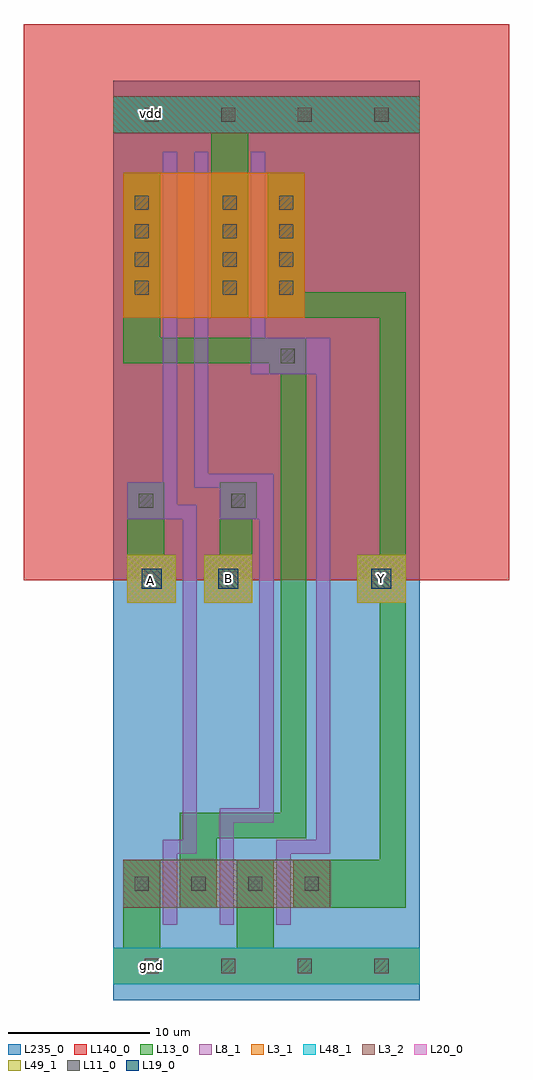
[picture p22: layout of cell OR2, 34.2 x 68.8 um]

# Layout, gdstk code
import gdstk
lib = gdstk.Library(unit=1e-6, precision=1e-09)
def R(c, l, rs):  # rectangles x0, y0, x1, y1
    for r in rs: c.add(gdstk.rectangle(r[:2], r[2:], *l))
def A(c, l, x, y, w, h, nx, ny, dx, dy):  # array of equal rectangles
    R(c, l, [(x+i*dx, y+j*dy, x+i*dx+w, y+j*dy+h) for i in range(nx) for j in range(ny)])
def P(c, l, *ps):  # polygons
    for p in ps: c.add(gdstk.Polygon(p, *l))
L3_1 = (3, 1)
L3_2 = (3, 2)
L8_1 = (8, 1)
L11_0 = (11, 0)
L13_0 = (13, 0)
L19_0 = (19, 0)
L20_0 = (20, 0)
L48_1 = (48, 1)
L49_1 = (49, 1)
L140_0 = (140, 0)
L235_0 = (235, 0)

or2 = lib.new_cell('OR2')
R(or2, L3_1, [(0,1.1,21.6,3.7), (0.7,48.1,13.5,58.3)])
R(or2, L3_2, [(0.7,6.5,15.3,9.9), (0,61.1,21.6,63.7)])
P(or2, L8_1, [(7.5,5.3),(7.5,13.5),(10.3,13.5),(10.3,33.9),(7.5,33.9),(7.5,36.1),(5.7,36.1),(5.7,59.8),(6.7,59.8),(6.7,37.1),(11.3,37.1),(11.3,12.5),(8.5,12.5),(8.5,5.3)],
  [(3.5,5.3),(3.5,11.3),(4.9,11.3),(4.9,33.9),(1,33.9),(1,36.5),(3.5,36.5),(3.5,59.8),(4.5,59.8),(4.5,34.9),(5.9,34.9),(5.9,10.3),(4.5,10.3),(4.5,5.3)],
  [(11.5,5.3),(11.5,11.3),(14.3,11.3),(14.3,44.1),(11.5,44.1),(9.7,44.1),(9.7,59.8),(10.7,59.8),(10.7,46.7),(15.3,46.7),(15.3,10.3),(12.5,10.3),(12.5,5.3)])
A(or2, L11_0, 7.6, 1.9, 1, 1, 3, 2, 5.4, 60)
A(or2, L11_0, 1.5, 7.7, 1, 1, 4, 1, 4, 0)
A(or2, L11_0, 1.5, 49.7, 1, 1, 1, 4, 0, 2)
A(or2, L11_0, 7.7, 49.7, 1, 1, 1, 4, 0, 2)
A(or2, L11_0, 11.7, 49.7, 1, 1, 1, 4, 0, 2)
R(or2, L11_0, [(2.2,1.9,3.2,2.9), (7.6,1.9,8.6,2.9), (1.8,34.7,2.8,35.7), (8.3,34.7,9.3,35.7), (11.8,44.9,12.8,45.9), (2.2,61.9,3.2,62.9), (2.2,61.9,3.2,62.9), (7.6,61.9,8.6,62.9), (7.6,61.9,8.6,62.9), (7.6,61.9,8.6,62.9)])
R(or2, L13_0, [(0,1.1,21.6,3.7), (0.7,3.7,3.3,9.9), (8.7,3.7,11.3,9.9), (1,28,4.4,31.4), (1,28,4.4,31.4), (6.4,28,9.8,31.4), (6.4,28,9.8,31.4), (17.2,28,20.6,31.4), (17.2,28,20.6,31.4), (1,31.4,3.6,36.5), (6.9,48.1,9.5,61.1), (10.9,48.1,13.5,58.3), (0,61.1,21.6,63.7)])
P(or2, L13_0, [(4.7,6.5),(4.7,13.2),(11.8,13.2),(11.8,44.1),(11,44.1),(11,44.9),(0.7,44.9),(0.7,58.3),(3.3,58.3),(3.3,46.7),(13.6,46.7),(13.6,11.4),(7.3,11.4),(7.3,6.5)],
  [(12.7,6.5),(12.7,9.9),(18.8,9.9),(18.8,48.1),(13.5,48.1),(13.5,49.9),(20.6,49.9),(20.6,11.4),(20.6,6.5)],
  [(7.5,31.4),(7.5,36.5),(10.1,36.5),(10.1,33.9),(9.8,33.9),(9.8,31.4)])
R(or2, L19_0, [(2,29,3.4,30.4), (7.4,29,8.8,30.4), (18.2,29,19.6,30.4), (18.2,29,19.6,30.4)])
R(or2, L20_0, [(1,28,4.4,31.4), (6.4,28,9.8,31.4), (17.2,28,20.6,31.4), (17.2,28,20.6,31.4)])
R(or2, L48_1, [(0,1.1,21.6,3.7), (0,61.1,21.6,63.7)])
R(or2, L49_1, [(1,28,4.4,31.4), (6.4,28,9.8,31.4), (17.2,28,20.6,31.4), (17.2,28,20.6,31.4)])
R(or2, L140_0, [(-6.3,29.6,27.9,68.8)])
R(or2, L235_0, [(0,0,21.6,64.8)])
or2.add(gdstk.Label('Y', (18.9,29.7), layer=49, texttype=0))
or2.add(gdstk.Label('Y', (18.9,29.7), layer=49, texttype=0))
or2.add(gdstk.Label('A', (2.6,29.6), layer=49, texttype=0))
or2.add(gdstk.Label('B', (8.1,29.7), layer=49, texttype=0))
or2.add(gdstk.Label('gnd', (2.7,2.4), layer=48, texttype=0))
or2.add(gdstk.Label('vdd', (2.7,62.5), layer=48, texttype=0))

lib.write_gds('OR2.gds')
